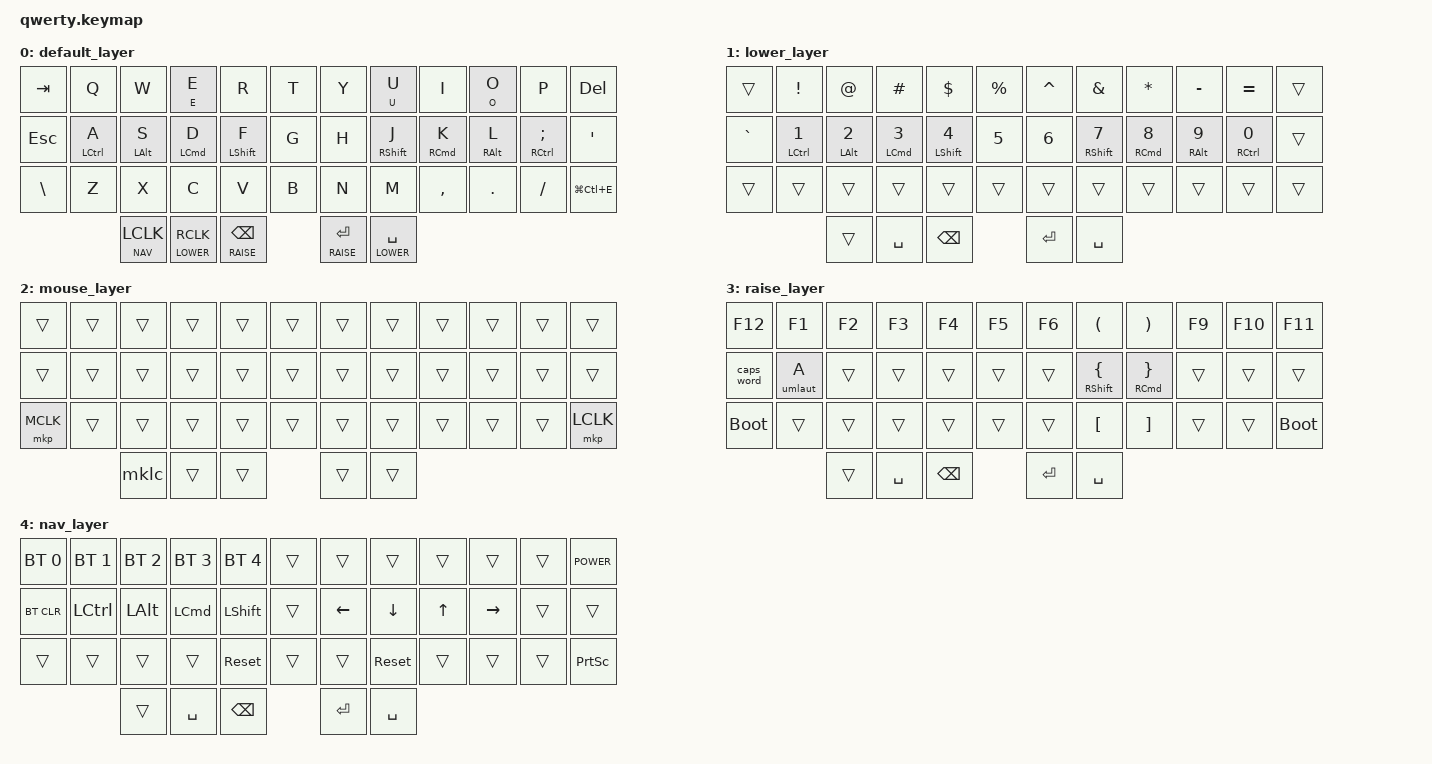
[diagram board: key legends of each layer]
/* upstream bindings and behaviors */
#include <behaviors.dtsi>
#include <dt-bindings/zmk/bt.h>
#include <dt-bindings/zmk/keys.h>
#include <dt-bindings/zmk/mouse.h>
#include <dt-bindings/zmk/outputs.h>
#include <behaviors/mouse_keys.dtsi>
#include <dt-bindings/zmk/ext_power.h>

/* local overlays */
#include "macros.dtsi"
#include "behaviors.dtsi"
#include "combos.dtsi"

#include <dt-bindings/zmk/outputs.h>
#include <dt-bindings/zmk/keys.h>

#define DEFAULT 0
#define LOWER   1
#define MOUSE   2
#define RAISE   3
#define NAV     4

// todo: make dongle work.
// https://github.com/zmkfirmware/zmk/tree/main/app/boards/shields/corne
// https://github.com/aroum/zmk-enki42

// https://nickcoutsos.github.io/keymap-editor

&lt {
    quick-tap-ms = <200>;
    flavor = "balanced";
};

&caps_word {
    continue-list = <UNDERSCORE MINUS>;
};

/ {
      behaviors {
        hm: hold_preferred_homerow_mods {
            compatible = "zmk,behavior-hold-tap";
            #binding-cells = <2>;
            tapping-term-ms = <150>;
            quick-tap-ms = <200>;
            require-prior-idle-ms = <125>;
            flavor = "hold-preferred";
            bindings = <&kp>, <&kp>;
        };
        tm: tap_preferred_homerow_mods {
            compatible = "zmk,behavior-hold-tap";
            #binding-cells = <2>;
            tapping-term-ms = <150>;
            quick-tap-ms = <200>;
            require-prior-idle-ms = <125>;
            flavor = "tap-preferred";
            bindings = <&kp>, <&kp>;
        };
        mlt: mouse_lt {
            compatible = "zmk,behavior-hold-tap";
            #binding-cells = <2>;
            tapping-term-ms = <150>;
            tapping-term-ms = <200>;
            require-prior-idle-ms = <125>;
            flavor = "hold-preferred";
            bindings = <&mo>, <&mkp>;
        };
        eu: tap_preferred_euro_mods {
            compatible = "zmk,behavior-hold-tap";
            // behavior-hold-tap must have two parameters even though we're only using the second
            #binding-cells = <2>;
            tapping-term-ms = <150>;
            quick-tap-ms = <200>;
            require-prior-idle-ms = <125>;
            flavor = "tap-preferred";
            // long press will run the euro macro
            bindings = <&euro>, <&kp>;
        };
        um: tap_preferred_umlaut_mods {
            compatible = "zmk,behavior-hold-tap";
            #binding-cells = <2>;
            tapping-term-ms = <150>;
            quick-tap-ms = <200>;
            require-prior-idle-ms = <125>;
            flavor = "tap-preferred";
            // long press: umlaut with first param
            // tap: keypress second param
            bindings = <&umlaut>, <&kp>;
        };
    };
    macros {
        umlaut: umlaut {
            compatible = "zmk,behavior-macro-one-param";
            #binding-cells = <1>;
            bindings =
                <&macro_tap &kp K_CMENU>, // menu key is mapped to compose key
                <&macro_tap &kp DQT>,
                <&macro_tap>, // tap the key provided by params
                <&macro_param_1to1 &kp MACRO_PLACEHOLDER>;
        };
        euro: euro {
            compatible = "zmk,behavior-macro";
            #binding-cells = <0>;
            bindings =
                <&macro_tap &kp K_CMENU>,
                <&macro_tap &kp C>,
                <&macro_tap &kp EQUAL>;
        };
        mklc: mouse_click_layer_change {
            compatible = "zmk,behavior-macro";
            #binding-cells = <0>;
            bindings =
                <&macro_press &mkp LCLK>,
                <&macro_pause_for_release>,
                <&macro_release &mkp LCLK>,
                <&macro_tap &tog MOUSE>;
        };
    };
    keymap {
        compatible = "zmk,keymap";

        default_layer {
            bindings = <
// ╭─────────┬─────────────┬────────────┬────────────┬─────────────┬───────╮   ╭───────┬─────────────┬────────────┬────────────┬────────────────┬───────────────╮
    &kp TAB       &kp Q        &kp W        &eu E E       &kp R      &kp T       &kp Y     &um U U       &kp I       &um O O         &kp P          &kp DEL
// ├─────────┼─────────────┼────────────┼────────────┼─────────────┼───────┤   ├───────┼─────────────┼────────────┼────────────┼────────────────┼───────────────┤
    &kp ESC    &tm LCTRL A   &tm LALT S   &tm LCMD D   &hm LSHFT F   &kp G       &kp H   &hm RSHFT J   &tm RCMD K   &tm RALT L   &tm RCTRL SEMI     &kp SQT
// ├─────────┼─────────────┼────────────┼────────────┼─────────────┼───────┤   ├───────┼─────────────┼────────────┼────────────┼────────────────┼───────────────╯
    &kp BSLH      &kp Z        &kp X        &kp C         &kp V      &kp B       &kp N      &kp M      &kp COMMA     &kp DOT        &kp FSLH      &kp LG(LC(E))
// ╰─────────┴─────────────┴────────────┼────────────┼─────────────┼───────┤   ├───────┼─────────────┼────────────┴────────────┴────────────────┴───────────────╯
                          &mlt NAV LCLK   &mlt LOWER RCLK   &lt RAISE BSPC       &lt RAISE RET   &lt LOWER SPACE
//                      ╰───────────────┴─────────────────┴────────────────╯   ╰───────────────┴─────────────────╯
            >;
        };

        lower_layer {
            bindings = <
// ╭───────────┬──────────────┬─────────────┬─────────────┬──────────────┬───────────╮   ╭───────────┬──────────────┬─────────────┬─────────────┬──────────────┬────────╮
      &trans       &kp EXCL       &kp AT       &kp HASH       &kp DLLR     &kp PRCNT       &kp CARET     &kp AMPS      &kp STAR      &kp MINUS     &kp EQUAL     &trans
// ├───────────┼──────────────┼─────────────┼─────────────┼──────────────┼───────────┤   ├───────────┼──────────────┼─────────────┼─────────────┼──────────────┼────────┤
     &kp GRAVE   &tm LCTRL N1   &tm LALT N2   &tm LCMD N3   &hm LSHFT N4     &kp N5         &kp N6     &hm RSHFT N7   &tm RCMD N8   &tm RALT N9   &tm RCTRL N0   &trans
// ├───────────┼──────────────┼─────────────┼─────────────┼──────────────┼───────────┤   ├───────────┼──────────────┼─────────────┼─────────────┼──────────────┼────────┤
      &trans        &trans        &trans        &trans         &trans       &trans          &trans        &trans        &trans        &trans         &trans      &trans
// ╰───────────┴──────────────┴─────────────┼─────────────┼──────────────┼───────────┤   ├───────────┼──────────────┼─────────────┴─────────────┴──────────────┴────────╯
                                                &trans       &kp SPACE     &kp BSPC        &kp RET      &kp SPACE
//                                          ╰─────────────┴──────────────┴───────────╯   ╰───────────┴──────────────╯
            >;
        };

        mouse_layer {
            bindings = <
// ╭───────────┬────────┬────────┬────────┬────────┬────────╮   ╭────────┬────────┬────────┬────────┬────────┬───────────╮
      &trans     &trans   &trans   &trans   &trans   &trans       &trans   &trans   &trans   &trans   &trans    &trans
// ├───────────┼────────┼────────┼────────┼────────┼────────┤   ├────────┼────────┼────────┼────────┼────────┼───────────┤
      &trans     &trans   &trans   &trans   &trans   &trans       &trans   &trans   &trans   &trans   &trans    &trans
// ├───────────┼────────┼────────┼────────┼────────┼────────┤   ├────────┼────────┼────────┼────────┼────────┼───────────┤
     &mkp MCLK   &trans   &trans   &trans   &trans   &trans       &trans   &trans   &trans   &trans   &trans   &mkp LCLK
// ╰───────────┴────────┴────────┼────────┼────────┼────────┤   ├────────┼────────┼────────┴────────┴────────┴───────────╯
                                   &mklc    &trans   &trans       &trans   &trans
//                               ╰────────┴────────┴────────╯   ╰────────┴────────╯
            >;
        };

        raise_layer {
            bindings = <
// ╭─────────────┬───────────┬────────┬────────┬────────┬────────╮   ╭────────┬────────────────┬───────────────┬────────┬────────┬─────────────╮
       &kp F12      &kp F1     &kp F2   &kp F3   &kp F4   &kp F5       &kp F6      &kp LPAR        &kp RPAR      &kp F9   &kp F10    &kp F11
// ├─────────────┼───────────┼────────┼────────┼────────┼────────┤   ├────────┼────────────────┼───────────────┼────────┼────────┼─────────────┤
     &caps_word    &umlaut A   &trans   &trans   &trans   &trans       &trans   &hm RSHFT LBRC   &hm RCMD RBRC   &trans   &trans      &trans
// ├─────────────┼───────────┼────────┼────────┼────────┼────────┤   ├────────┼────────────────┼───────────────┼────────┼────────┼─────────────┤
     &bootloader     &trans    &trans   &trans   &trans   &trans       &trans      &kp LBKT        &kp RBKT      &trans   &trans   &bootloader
// ╰─────────────┴───────────┴────────┼────────┼────────┼────────┤   ├────────┼────────────────┼───────────────┴────────┴────────┴─────────────╯
                                   &trans   &kp SPACE   &kp BSPC       &kp RET   &kp SPACE
//                               ╰────────┴───────────┴──────────╯   ╰─────────┴───────────╯
            >;
        };

        nav_layer {
            bindings = <
// ╭──────────────┬──────────────┬──────────────┬──────────────┬──────────────┬────────╮   ╭──────────┬────────────┬──────────┬───────────┬────────┬─────────────╮
     &bt BT_SEL 0   &bt BT_SEL 1   &bt BT_SEL 2   &bt BT_SEL 3   &bt BT_SEL 4   &trans        &trans      &trans      &trans     &trans     &trans   &kp C_POWER
// ├──────────────┼──────────────┼──────────────┼──────────────┼──────────────┼────────┤   ├──────────┼────────────┼──────────┼───────────┼────────┼─────────────┤
     &bt BT_CLR      &kp LCTRL       &kp LALT       &kp LCMD      &kp LSHFT     &trans       &kp LEFT    &kp DOWN     &kp UP    &kp RIGHT   &trans      &trans
// ├──────────────┼──────────────┼──────────────┼──────────────┼──────────────┼────────┤   ├──────────┼────────────┼──────────┼───────────┼────────┼─────────────┤
       &trans          &trans         &trans        &trans        &sys_reset    &trans        &trans    &sys_reset    &trans     &trans     &trans    &kp PSCRN
// ╰──────────────┴──────────────┴──────────────┼──────────────┼──────────────┼────────┤   ├──────────┼────────────┼──────────┴───────────┴────────┴─────────────╯
                                                          &trans   &kp SPACE   &kp BSPC      &kp RET    &kp SPACE
//                                                      ╰─────────┴───────────┴────────╯   ╰──────────┴────────────╯
            >;
        };
    };
};
